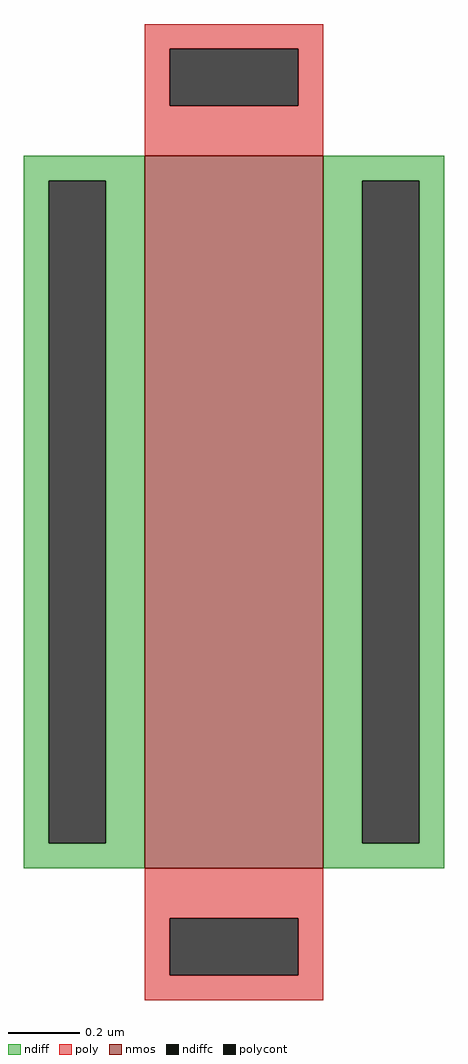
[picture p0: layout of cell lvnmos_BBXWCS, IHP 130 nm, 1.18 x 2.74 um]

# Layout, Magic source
magic
tech ihp-sg13g2
<< nmos >>
rect -25 -100 25 100
<< ndiff >>
rect -59 93 -25 100
rect -59 -93 -52 93
rect -36 -93 -25 93
rect -59 -100 -25 -93
rect 25 93 59 100
rect 25 -93 36 93
rect 52 -93 59 93
rect 25 -100 59 -93
<< ndiffc >>
rect -52 -93 -36 93
rect 36 -93 52 93
<< poly >>
rect -25 130 25 137
rect -25 114 -18 130
rect 18 114 25 130
rect -25 100 25 114
rect -25 -114 25 -100
rect -25 -130 -18 -114
rect 18 -130 25 -114
rect -25 -137 25 -130
<< polycont >>
rect -18 114 18 130
rect -18 -130 18 -114
<< properties >>
string gencell lvnmos
string library sg13g2_devstdin
string parameters w 2 l 0.5 nf 1 nx 1 dx 0.21 ny 1 dy 0.18 wmin 0.50 lmin 0.50 class mosfet gcontcov_t 100 gcontcov_b 100 dcontcov_l 100 dcontcov_r 100 guard_distf 1 glc 0 grc 0 gtc 0 gbc 0
<< end >>
